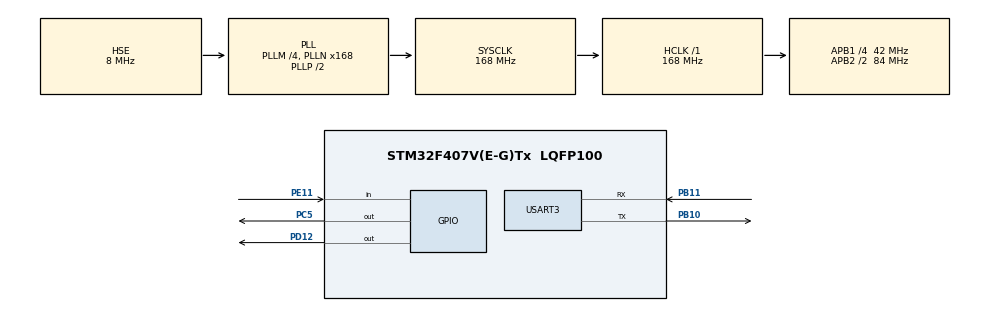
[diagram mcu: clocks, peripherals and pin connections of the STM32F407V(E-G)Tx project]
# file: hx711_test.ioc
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Dma.Request0=USART3_RX
Dma.Request1=USART3_TX
Dma.USART3_RX.0.Direction=DMA_PERIPH_TO_MEMORY
Dma.USART3_RX.0.FIFOMode=DMA_FIFOMODE_DISABLE
Dma.USART3_RX.0.Instance=DMA1_Stream1
Dma.USART3_RX.0.MemDataAlignment=DMA_MDATAALIGN_BYTE
Dma.USART3_RX.0.MemInc=DMA_MINC_ENABLE
Dma.USART3_RX.0.Mode=DMA_CIRCULAR
Dma.USART3_RX.0.PeriphDataAlignment=DMA_PDATAALIGN_BYTE
Dma.USART3_RX.0.PeriphInc=DMA_PINC_DISABLE
Dma.USART3_RX.0.Priority=DMA_PRIORITY_VERY_HIGH
Dma.USART3_TX.1.Direction=DMA_MEMORY_TO_PERIPH
Dma.USART3_TX.1.FIFOMode=DMA_FIFOMODE_DISABLE
Dma.USART3_TX.1.Instance=DMA1_Stream3
Dma.USART3_TX.1.MemDataAlignment=DMA_MDATAALIGN_BYTE
Dma.USART3_TX.1.MemInc=DMA_MINC_ENABLE
Dma.USART3_TX.1.Mode=DMA_CIRCULAR
Dma.USART3_TX.1.PeriphDataAlignment=DMA_PDATAALIGN_BYTE
Dma.USART3_TX.1.PeriphInc=DMA_PINC_DISABLE
Dma.USART3_TX.1.Priority=DMA_PRIORITY_LOW
Mcu.Family=STM32F4
Mcu.Name=STM32F407V(E-G)Tx
Mcu.Package=LQFP100
NVIC.DMA1_Stream1_IRQn=true\:0\:0\:true\:false\:true\:false\:true\:true
NVIC.DMA1_Stream3_IRQn=true\:3\:0\:true\:false\:true\:false\:true\:true
NVIC.PriorityGroup=NVIC_PRIORITYGROUP_4
NVIC.TIM6_DAC_IRQn=true\:0\:0\:true\:false\:true\:true\:true\:true
NVIC.TIM7_IRQn=true\:2\:0\:true\:false\:true\:true\:true\:true
NVIC.USART3_IRQn=true\:0\:0\:false\:false\:true\:true\:true\:true
PA13.Mode=Serial_Wire
PA13.Signal=SYS_JTMS-SWDIO
PA14.Mode=Serial_Wire
PA14.Signal=SYS_JTCK-SWCLK
PB10.Mode=Asynchronous
PB10.Signal=USART3_TX
PB11.Mode=Asynchronous
PB11.Signal=USART3_RX
PC5.Signal=GPIO_Output
PD12.Signal=GPIO_Output
PE11.Signal=GPIO_Input
PH0-OSC_IN.Mode=HSE-External-Oscillator
PH0-OSC_IN.Signal=RCC_OSC_IN
PH1-OSC_OUT.Mode=HSE-External-Oscillator
PH1-OSC_OUT.Signal=RCC_OSC_OUT
ProjectManager.HeapSize=0x200
ProjectManager.StackSize=0x400
ProjectManager.TargetToolchain=MDK-ARM V5.32
RCC.48MHZClocksFreq_Value=84000000
RCC.AHBFreq_Value=168000000
RCC.APB1CLKDivider=RCC_HCLK_DIV4
RCC.APB1Freq_Value=42000000
RCC.APB1TimFreq_Value=84000000
RCC.APB2CLKDivider=RCC_HCLK_DIV2
RCC.APB2Freq_Value=84000000
RCC.APB2TimFreq_Value=168000000
RCC.CortexFreq_Value=168000000
RCC.HCLKFreq_Value=168000000
RCC.HSE_VALUE=8000000
RCC.HSI_VALUE=16000000
RCC.LSE_VALUE=32768
RCC.PLLM=4
RCC.PLLN=168
RCC.PLLSourceVirtual=RCC_PLLSOURCE_HSE
RCC.SYSCLKFreq_VALUE=168000000
RCC.SYSCLKSource=RCC_SYSCLKSOURCE_PLLCLK
RCC.VCOOutputFreq_Value=336000000
TIM6.AutoReloadPreload=TIM_AUTORELOAD_PRELOAD_ENABLE
TIM6.Prescaler=83
TIM7.AutoReloadPreload=TIM_AUTORELOAD_PRELOAD_ENABLE
TIM7.Period=9999
TIM7.Prescaler=839
USART3.VirtualMode=VM_ASYNC
VP_TIM6_VS_ClockSourceINT.Mode=Enable_Timer
VP_TIM7_VS_ClockSourceINT.Mode=Enable_Timer
board=custom

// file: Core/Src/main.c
/* USER CODE BEGIN Header */
/**
  ******************************************************************************
  * @file           : main.c
  * @brief          : Main program body
  ******************************************************************************
  * @attention
  *
  * Copyright (c) 2024 STMicroelectronics.
  * All rights reserved.
  *
  * This software is licensed under terms that can be found in the LICENSE file
  * in the root directory of this software component.
  * If no LICENSE file comes with this software, it is provided AS-IS.
  *
  ******************************************************************************
  */
/* USER CODE END Header */
#include "main.h"

/* USER CODE BEGIN Includes */
#include "string.h"
#include "Delay.h"
#include "hx711.h"
/* USER CODE END Includes */

/* USER CODE BEGIN PD */
	#define rx_frame_size 12
	uint8_t Header_Byte = 0x01;
	uint8_t Length_byte = 0x08;
	uint8_t Footer_Byte = 0x02;
/* USER CODE END PD */

TIM_HandleTypeDef htim6;
TIM_HandleTypeDef htim7;

UART_HandleTypeDef huart3;
DMA_HandleTypeDef hdma_usart3_rx;
DMA_HandleTypeDef hdma_usart3_tx;

void SystemClock_Config(void);
static void MX_GPIO_Init(void);
static void MX_DMA_Init(void);
static void MX_TIM6_Init(void);
static void MX_USART3_UART_Init(void);
static void MX_TIM7_Init(void);
/* USER CODE BEGIN PFP */
/*hx711 function begin */
 void hx711_init(void);
 int32_t getHX711(void);
 float get_weight_avg(uint16_t samples);
 int get_zero();
 float get_span(float know_weight_max,float zero2);
 float get_weight_calib(float zero_calib,float span_calib);
 void buffer_received_calib(float *zero , float *span);
 void weight_to_txbuffer(float kg);
/* hx711 fucntion end */
 uint8_t calculateTransmitChecksum(uint8_t *data, uint8_t length);
 uint8_t calculateReceiveChecksum(uint8_t *data, uint8_t length);
 void reset_buffer(uint8_t *buffer1);
 void transmit_data();
 void convertFloatToBytes(float value, uint8_t buffer[],int k);
/* USER CODE END PFP */

/* USER CODE BEGIN 0 */
uint8_t main_buff[rx_frame_size];
float zero1,span1;
float weight;
uint8_t rx_buffer[rx_frame_size];
uint8_t tx_buffer[8];
double Dk1,uk,uk1;
double Dk=0.234;
int BCD1,BCD0,BCD_1,BCD_0;
uint8_t checksum = 0;
/* USER CODE END 0 */

int main(void)
{

  /* MCU Configuration0.160133004--------------------------------------------------------*/

  /* Reset of all peripherals, Initializes the Flash interface and the Systick. */
  HAL_Init();

  /* Configure the system clock */
  SystemClock_Config();

  /* Initialize all configured peripherals */
  MX_GPIO_Init();
  MX_DMA_Init();
  MX_TIM6_Init();
  MX_USART3_UART_Init();
  MX_TIM7_Init();
  /* USER CODE BEGIN 2 */
	HAL_TIM_Base_Start(&htim6);
	HAL_TIM_Base_Start_IT(&htim7);
	HAL_UART_Receive_DMA(&huart3,rx_buffer,sizeof(rx_buffer));

	hx711_init();
	//HAL_UARTEx_ReceiveToIdle_DMA(&huart3, rx_buffer, 5);
	//HAL_UART_Transmit_DMA(&huart3,data,sizeof(data));
  /* USER CODE END 2 */

  /* Infinite loop */
  while (1)
  {
		//span1 = get_span(189000,8821657);

		//weight = get_weight_avg(20);
  }
}

void SystemClock_Config(void)
{
  RCC_OscInitTypeDef RCC_OscInitStruct = {0};
  RCC_ClkInitTypeDef RCC_ClkInitStruct = {0};

  /** Configure the main internal regulator output voltage
  */
  __HAL_RCC_PWR_CLK_ENABLE();
  __HAL_PWR_VOLTAGESCALING_CONFIG(PWR_REGULATOR_VOLTAGE_SCALE1);

  /** Initializes the RCC Oscillators according to the specified parameters
  * in the RCC_OscInitTypeDef structure.
  */
  RCC_OscInitStruct.OscillatorType = RCC_OSCILLATORTYPE_HSE;
  RCC_OscInitStruct.HSEState = RCC_HSE_ON;
  RCC_OscInitStruct.PLL.PLLState = RCC_PLL_ON;
  RCC_OscInitStruct.PLL.PLLSource = RCC_PLLSOURCE_HSE;
  RCC_OscInitStruct.PLL.PLLM = 4;
  RCC_OscInitStruct.PLL.PLLN = 168;
  RCC_OscInitStruct.PLL.PLLP = RCC_PLLP_DIV2;
  RCC_OscInitStruct.PLL.PLLQ = 4;
  if (HAL_RCC_OscConfig(&RCC_OscInitStruct) != HAL_OK)
  {
    Error_Handler();
  }

  /** Initializes the CPU, AHB and APB buses clocks
  */
  RCC_ClkInitStruct.ClockType = RCC_CLOCKTYPE_HCLK|RCC_CLOCKTYPE_SYSCLK
                              |RCC_CLOCKTYPE_PCLK1|RCC_CLOCKTYPE_PCLK2;
  RCC_ClkInitStruct.SYSCLKSource = RCC_SYSCLKSOURCE_PLLCLK;
  RCC_ClkInitStruct.AHBCLKDivider = RCC_SYSCLK_DIV1;
  RCC_ClkInitStruct.APB1CLKDivider = RCC_HCLK_DIV4;
  RCC_ClkInitStruct.APB2CLKDivider = RCC_HCLK_DIV2;

  if (HAL_RCC_ClockConfig(&RCC_ClkInitStruct, FLASH_LATENCY_5) != HAL_OK)
  {
    Error_Handler();
  }
}

static void MX_TIM6_Init(void)
{

  TIM_MasterConfigTypeDef sMasterConfig = {0};

  htim6.Instance = TIM6;
  htim6.Init.Prescaler = 83;
  htim6.Init.CounterMode = TIM_COUNTERMODE_UP;
  htim6.Init.Period = 65535;
  htim6.Init.AutoReloadPreload = TIM_AUTORELOAD_PRELOAD_ENABLE;
  if (HAL_TIM_Base_Init(&htim6) != HAL_OK)
  {
    Error_Handler();
  }
  sMasterConfig.MasterOutputTrigger = TIM_TRGO_RESET;
  sMasterConfig.MasterSlaveMode = TIM_MASTERSLAVEMODE_DISABLE;
  if (HAL_TIMEx_MasterConfigSynchronization(&htim6, &sMasterConfig) != HAL_OK)
  {
    Error_Handler();
  }

}

static void MX_TIM7_Init(void)
{

  TIM_MasterConfigTypeDef sMasterConfig = {0};

  htim7.Instance = TIM7;
  htim7.Init.Prescaler = 839;
  htim7.Init.CounterMode = TIM_COUNTERMODE_UP;
  htim7.Init.Period = 9999;
  htim7.Init.AutoReloadPreload = TIM_AUTORELOAD_PRELOAD_ENABLE;
  if (HAL_TIM_Base_Init(&htim7) != HAL_OK)
  {
    Error_Handler();
  }
  sMasterConfig.MasterOutputTrigger = TIM_TRGO_RESET;
  sMasterConfig.MasterSlaveMode = TIM_MASTERSLAVEMODE_DISABLE;
  if (HAL_TIMEx_MasterConfigSynchronization(&htim7, &sMasterConfig) != HAL_OK)
  {
    Error_Handler();
  }

}

static void MX_USART3_UART_Init(void)
{

  huart3.Instance = USART3;
  huart3.Init.BaudRate = 9600;
  huart3.Init.WordLength = UART_WORDLENGTH_8B;
  huart3.Init.StopBits = UART_STOPBITS_1;
  huart3.Init.Parity = UART_PARITY_NONE;
  huart3.Init.Mode = UART_MODE_TX_RX;
  huart3.Init.HwFlowCtl = UART_HWCONTROL_NONE;
  huart3.Init.OverSampling = UART_OVERSAMPLING_16;
  if (HAL_UART_Init(&huart3) != HAL_OK)
  {
    Error_Handler();
  }

}

static void MX_DMA_Init(void)
{

  /* DMA controller clock enable */
  __HAL_RCC_DMA1_CLK_ENABLE();

  /* DMA interrupt init */
  /* DMA1_Stream1_IRQn interrupt configuration */
  HAL_NVIC_SetPriority(DMA1_Stream1_IRQn, 0, 0);
  HAL_NVIC_EnableIRQ(DMA1_Stream1_IRQn);
  /* DMA1_Stream3_IRQn interrupt configuration */
  HAL_NVIC_SetPriority(DMA1_Stream3_IRQn, 3, 0);
  HAL_NVIC_EnableIRQ(DMA1_Stream3_IRQn);

}

static void MX_GPIO_Init(void)
{
  GPIO_InitTypeDef GPIO_InitStruct = {0};

  /* GPIO Ports Clock Enable */
  __HAL_RCC_GPIOH_CLK_ENABLE();
  __HAL_RCC_GPIOC_CLK_ENABLE();
  __HAL_RCC_GPIOE_CLK_ENABLE();
  __HAL_RCC_GPIOB_CLK_ENABLE();
  __HAL_RCC_GPIOD_CLK_ENABLE();
  __HAL_RCC_GPIOA_CLK_ENABLE();

  /*Configure GPIO pin Output Level */
  HAL_GPIO_WritePin(GPIOC, GPIO_PIN_5, GPIO_PIN_RESET);

  /*Configure GPIO pin Output Level */
  HAL_GPIO_WritePin(GPIOD, GPIO_PIN_12, GPIO_PIN_RESET);

  /*Configure GPIO pin : PC5 */
  GPIO_InitStruct.Pin = GPIO_PIN_5;
  GPIO_InitStruct.Mode = GPIO_MODE_OUTPUT_PP;
  GPIO_InitStruct.Pull = GPIO_NOPULL;
  GPIO_InitStruct.Speed = GPIO_SPEED_FREQ_LOW;
  HAL_GPIO_Init(GPIOC, &GPIO_InitStruct);

  /*Configure GPIO pin : PE11 */
  GPIO_InitStruct.Pin = GPIO_PIN_11;
  GPIO_InitStruct.Mode = GPIO_MODE_INPUT;
  GPIO_InitStruct.Pull = GPIO_NOPULL;
  HAL_GPIO_Init(GPIOE, &GPIO_InitStruct);

  /*Configure GPIO pin : PD12 */
  GPIO_InitStruct.Pin = GPIO_PIN_12;
  GPIO_InitStruct.Mode = GPIO_MODE_OUTPUT_PP;
  GPIO_InitStruct.Pull = GPIO_NOPULL;
  GPIO_InitStruct.Speed = GPIO_SPEED_FREQ_LOW;
  HAL_GPIO_Init(GPIOD, &GPIO_InitStruct);

}

/* USER CODE BEGIN 4 */
uint8_t rx_flag[] = "rx flag on";
uint8_t error_frame[] = "error frame";
uint8_t frame_done[]= "done frame";
float span_value=1,zero_value=0;
uint8_t rx_flag_done=0;
uint8_t flag =0;
void transmit_data()
{
	if(flag==1)
	{
		HAL_UART_Transmit_DMA(&huart3,tx_buffer,sizeof(tx_buffer));
		flag = 0;
	  rx_flag_done = 0;
	}
}
void HAL_UART_RxCpltCallback(UART_HandleTypeDef *huart)
{
	if(huart->Instance == USART3)
	{

		if(rx_buffer[0] == Header_Byte)
		{
			uint8_t length_data = rx_buffer[1];
			if(rx_buffer[length_data + 2] == Footer_Byte)
			{
				uint8_t check = calculateReceiveChecksum(rx_buffer,length_data);
				if(check == rx_buffer[10])
				{
				  buffer_received_calib(&zero_value,&span_value);
					rx_flag_done = 1;
					reset_buffer(rx_buffer);
				}
				else
				{
					HAL_UART_Transmit(&huart3,error_frame,sizeof(error_frame),1000);
				}
			}
		}
	}
}
void HAL_UART_TxCpltCallback(UART_HandleTypeDef *huart)
{
	if(huart->Instance == huart3.Instance)
	{
		HAL_UART_DMAPause(&huart3);
		delay_ms(10000);
		HAL_UART_DMAResume(&huart3);
	}
}
float Convert_Byte_To_Float(uint8_t * byteArray) {
	 uint32_t integerValue = (byteArray[3] << 24) | (byteArray[2] << 16) | (byteArray[1] << 8) | byteArray[0];

	    // Reinterpret cast the integer as a float
	    float floatValue;
	    *((uint32_t*)&floatValue) = integerValue;

	    return floatValue;

}
void buffer_received_calib(float *zero , float *span){
uint8_t rcvByte[4];
	for (int loop = 0; loop < 4; loop++)
		rcvByte[loop] = rx_buffer[2 + loop];
	*zero = Convert_Byte_To_Float(rcvByte);

	for (int loop = 0; loop < 4; loop++)
		rcvByte[loop] = rx_buffer[6 + loop];
	*span = Convert_Byte_To_Float(rcvByte);
}
void weight_to_txbuffer(float kg)
{
	double temp_1=kg*1000;
	unsigned int temp=(int)temp_1;
	BCD1=temp/1000;
	BCD0=(temp-BCD1*1000)/100;
	BCD_1=(temp-BCD1*1000-BCD0*100)/10;
	BCD_0=temp-BCD1*1000-BCD0*100-BCD_1*10;

	tx_buffer[0]= Header_Byte;
	tx_buffer[1]= Length_byte;
	convertFloatToBytes(kg,tx_buffer,2);
	uint8_t checksum1 = calculateTransmitChecksum(tx_buffer,Length_byte);
	tx_buffer[6]=checksum1;
	tx_buffer[7]=Footer_Byte;

}
uint8_t calculateTransmitChecksum(uint8_t *data, uint8_t length)
{
    uint8_t checksum = 0;
    for (int i = 1; i < length-2; i++) {
        checksum ^= data[i];
    }
    return checksum;
}
uint8_t calculateReceiveChecksum(uint8_t *data, uint8_t length)
{
    uint8_t checksum = 0;
    for (int i = 1; i < length - 2; i++) {
        checksum ^= data[i];
    }
    return checksum;
}
void reset_buffer(uint8_t *buffer1)
{
	for(int i=0;i<rx_frame_size;i++)
	{
		buffer1[i] = '\0';
	}
}
void HAL_TIM_PeriodElapsedCallback(TIM_HandleTypeDef *htim)
{
	if(htim->Instance == TIM7)
	{
		weight = get_weight_calib(zero_value,span_value);
		//span1 = get_span(2000000,0);
		//weight = get_weight_avg(20);
		weight_to_txbuffer(weight);
		if(rx_flag_done == 1)
		{
			flag = 1;
			transmit_data();
		}
	}
}
void convertFloatToBytes(float value, uint8_t buffer[],int k) {
    // S? d?ng con tr? ki?u uint8_t d? truy c?p t?ng byte c?a giА tr? float
    uint8_t *ptr = (uint8_t *)&value;

    // Sao chИp t?ng byte c?a giА tr? float vЮo buffer
    for ( int i=k ; i < 4+k; ++i) {
        buffer[i] = *(ptr + i-k);
    }
}
/* USER CODE END 4 */

void Error_Handler(void)
{
  __disable_irq();
  while (1)
  {
  }
}
